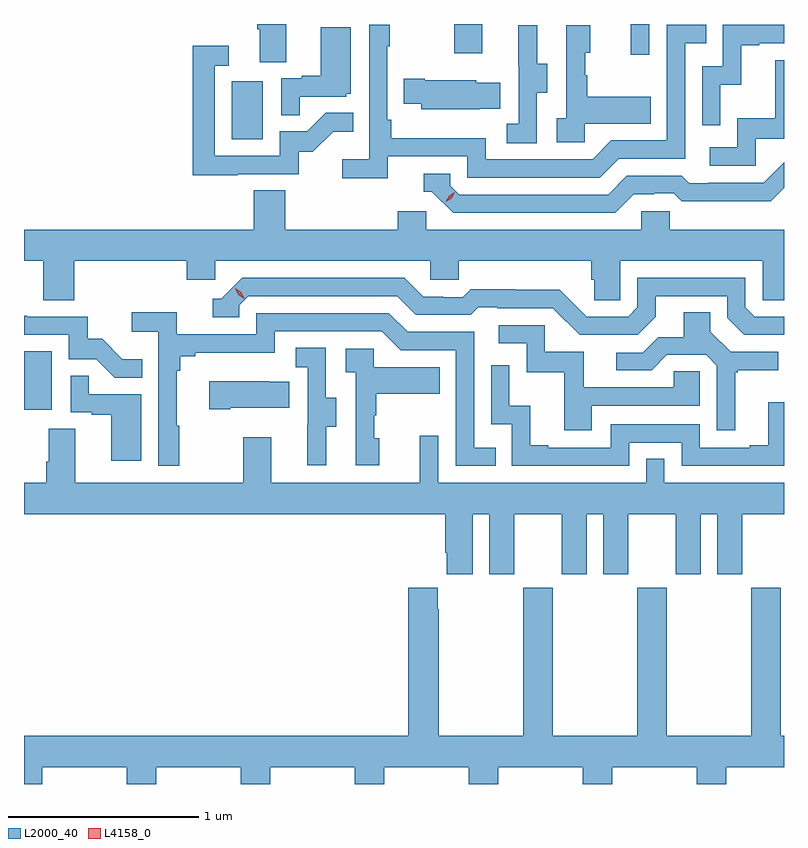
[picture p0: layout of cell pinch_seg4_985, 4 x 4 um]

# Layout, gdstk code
import gdstk
lib = gdstk.Library(unit=1e-6, precision=1e-09)
def R(c, l, rs):  # rectangles x0, y0, x1, y1
    for r in rs: c.add(gdstk.rectangle(r[:2], r[2:], *l))
def P(c, l, *ps):  # polygons
    for p in ps: c.add(gdstk.Polygon(p, *l))
L2000_40 = (2000, 40)
L4158_0 = (4158, 0)

pinch_seg4_985 = lib.new_cell('pinch_seg4_985')
R(pinch_seg4_985, L2000_40, [(853.315,780.054,853.462,780.361), (854.408,781.476,854.572,781.783), (856.508,781.92,856.605,782.083), (855.58,781.929,855.727,782.083)])
P(pinch_seg4_985, L2000_40, [(854.695,782.083),(854.543,782.083),(854.543,782.056),(854.555,782.056),(854.555,781.882),(854.695,781.882)],
  [(855.23,781.386),(855.648,781.386),(855.648,781.275),(856.345,781.275),(856.444,781.374),(856.794,781.374),(856.794,781.983),(856.907,781.983),(856.907,782.079),(856.698,782.079),(856.698,781.47),(856.407,781.47),(856.308,781.371),(855.744,781.371),(855.744,781.483),(855.248,781.483),(855.248,781.579),(855.228,781.579),(855.228,781.967),(855.241,781.967),(855.241,782.08),(855.132,782.08),(855.132,781.372),(854.991,781.372),(854.991,781.27),(855.23,781.27)],
  [(856.98,781.763),(857.09,781.763),(857.09,781.971),(857.185,781.971),(857.185,781.983),(857.315,781.983),(857.315,782.079),(856.992,782.079),(856.992,781.86),(856.884,781.86),(856.884,781.551),(856.98,781.551)],
  [(856.014,781.72),(856.069,781.72),(856.069,781.875),(856.015,781.875),(856.015,782.077),(855.917,782.077),(855.917,781.863),(855.918,781.863),(855.918,781.559),(855.855,781.559),(855.855,781.456),(856.014,781.456)],
  [(856.266,781.559),(856.613,781.559),(856.613,781.699),(856.279,781.699),(856.279,781.814),(856.269,781.814),(856.269,781.932),(856.294,781.932),(856.294,782.077),(856.17,782.077),(856.17,781.586),(856.119,781.586),(856.119,781.461),(856.266,781.461)],
  [(854.765,781.701),(855.012,781.701),(855.012,781.716),(855.034,781.716),(855.034,782.065),(854.876,782.065),(854.876,781.81),(854.777,781.81),(854.777,781.797),(854.67,781.797),(854.67,781.603),(854.765,781.603)],
  [(854.441,781.293),(854.76,781.293),(854.76,781.41),(854.836,781.41),(854.943,781.517),(855.047,781.517),(855.047,781.616),(854.903,781.616),(854.805,781.518),(854.661,781.518),(854.661,781.389),(854.319,781.389),(854.319,781.863),(854.392,781.863),(854.392,781.969),(854.203,781.969),(854.203,781.288),(854.441,781.288)],
  [(857.166,781.479),(857.315,781.479),(857.315,781.891),(857.269,781.891),(857.269,781.588),(857.07,781.588),(857.07,781.434),(856.923,781.434),(856.923,781.338),(857.166,781.338)],
  [(855.713,781.637),(855.821,781.637),(855.821,781.774),(855.696,781.774),(855.696,781.786),(855.424,781.786),(855.424,781.794),(855.313,781.794),(855.313,781.664),(855.407,781.664),(855.407,781.634),(855.713,781.634)],
  [(856.525,781.188),(856.632,781.188),(856.632,781.191),(856.735,781.191),(856.777,781.149),(857.01,781.149),(857.01,781.151),(857.246,781.151),(857.315,781.22),(857.315,781.355),(857.208,781.248),(856.915,781.248),(856.915,781.245),(856.816,781.245),(856.777,781.284),(856.488,781.284),(856.389,781.185),(855.606,781.185),(855.558,781.233),(855.558,781.296),(855.419,781.296),(855.419,781.2),(855.462,781.2),(855.573,781.089),(856.426,781.089)],
  [(856.563,781.098),(856.563,781),(855.432,781),(855.432,781.098),(855.281,781.098),(855.281,781),(854.69,781),(854.69,781.208),(854.525,781.208),(854.525,781),(853.315,781),(853.315,780.836),(853.415,780.836),(853.415,780.628),(853.58,780.628),(853.58,780.836),(854.171,780.836),(854.171,780.738),(854.322,780.738),(854.322,780.836),(855.453,780.836),(855.453,780.738),(855.603,780.738),(855.603,780.836),(856.301,780.836),(856.301,780.738),(856.315,780.738),(856.315,780.628),(856.452,780.628),(856.452,780.836),(857.202,780.836),(857.202,780.628),(857.315,780.628),(857.315,781),(856.713,781),(856.713,781.098)],
  [(856.639,780.541),(856.639,780.651),(857.016,780.651),(857.016,780.537),(857.106,780.447),(857.315,780.447),(857.315,780.543),(857.16,780.543),(857.112,780.591),(857.112,780.747),(856.542,780.747),(856.542,780.591),(856.494,780.543),(856.278,780.543),(856.136,780.685),(855.9,780.685),(855.9,780.688),(855.667,780.688),(855.625,780.645),(855.522,780.645),(855.522,780.648),(855.415,780.648),(855.316,780.747),(854.463,780.747),(854.352,780.636),(854.309,780.636),(854.309,780.54),(854.448,780.54),(854.448,780.603),(854.496,780.651),(855.279,780.651),(855.378,780.552),(855.667,780.552),(855.706,780.591),(855.805,780.591),(855.805,780.588),(856.098,780.588),(856.239,780.447),(856.545,780.447)],
  [(857.059,780.249),(857.071,780.249),(857.071,780.26),(857.284,780.26),(857.284,780.357),(857.034,780.357),(856.927,780.464),(856.927,780.566),(856.787,780.566),(856.787,780.434),(856.652,780.434),(856.572,780.354),(856.431,780.354),(856.431,780.261),(856.618,780.261),(856.699,780.342),(856.905,780.342),(856.962,780.285),(856.962,779.946),(857.059,779.946)],
  [(854.131,779.969),(854.119,779.969),(854.119,780.257),(854.138,780.257),(854.138,780.334),(854.215,780.334),(854.215,780.353),(854.634,780.353),(854.634,780.465),(855.198,780.465),(855.297,780.366),(855.588,780.366),(855.588,779.757),(855.797,779.757),(855.797,779.853),(855.684,779.853),(855.684,780.462),(855.334,780.462),(855.235,780.561),(854.538,780.561),(854.538,780.45),(854.12,780.45),(854.12,780.566),(853.881,780.566),(853.881,780.464),(854.022,780.464),(854.022,779.757),(854.131,779.757)],
  [(853.937,780.319),(853.833,780.319),(853.726,780.426),(853.65,780.426),(853.65,780.543),(853.331,780.543),(853.331,780.548),(853.315,780.548),(853.315,780.447),(853.551,780.447),(853.551,780.318),(853.695,780.318),(853.793,780.22),(853.937,780.22)],
  [(856.303,780.075),(856.872,780.075),(856.872,780.255),(856.735,780.255),(856.735,780.171),(856.261,780.171),(856.261,780.357),(856.056,780.357),(856.056,780.498),(855.813,780.498),(855.813,780.402),(855.96,780.402),(855.96,780.249),(856.159,780.249),(856.159,779.946),(856.303,779.946)],
  [(854.905,779.962),(854.959,779.962),(854.959,780.117),(854.904,780.117),(854.904,780.38),(854.745,780.38),(854.745,780.277),(854.808,780.277),(854.808,779.973),(854.807,779.973),(854.807,779.76),(854.905,779.76)],
  [(855.184,779.904),(855.159,779.904),(855.159,780.023),(855.169,780.023),(855.169,780.137),(855.503,780.137),(855.503,780.277),(855.156,780.277),(855.156,780.375),(855.009,780.375),(855.009,780.251),(855.06,780.251),(855.06,779.76),(855.184,779.76)],
  [(856.5,779.88),(856.776,779.88),(856.776,779.757),(857.315,779.757),(857.315,780.091),(857.231,780.091),(857.231,779.866),(857.135,779.866),(857.135,779.853),(856.872,779.853),(856.872,779.976),(856.404,779.976),(856.404,779.853),(856.075,779.853),(856.075,779.866),(855.98,779.866),(855.98,780.074),(855.87,780.074),(855.87,780.286),(855.774,780.286),(855.774,779.976),(855.882,779.976),(855.882,779.757),(856.5,779.757)],
  [(853.933,780.135),(853.655,780.135),(853.655,780.233),(853.56,780.233),(853.56,780.039),(853.671,780.039),(853.671,780.027),(853.775,780.027),(853.775,779.784),(853.933,779.784)],
  [(854.401,780.062),(854.711,780.062),(854.711,780.199),(854.603,780.199),(854.603,780.202),(854.289,780.202),(854.289,780.055),(854.401,780.055)],
  [(855.495,779.917),(855.398,779.917),(855.398,779.668),(854.617,779.668),(854.617,779.908),(854.47,779.908),(854.47,779.668),(853.585,779.668),(853.585,779.954),(853.445,779.954),(853.445,779.78),(853.433,779.78),(853.433,779.668),(853.315,779.668),(853.315,779.504),(855.533,779.504),(855.533,779.299),(855.539,779.299),(855.539,779.187),(855.676,779.187),(855.676,779.504),(855.764,779.504),(855.764,779.187),(855.895,779.187),(855.895,779.504),(856.145,779.504),(856.145,779.187),(856.276,779.187),(856.276,779.504),(856.364,779.504),(856.364,779.187),(856.495,779.187),(856.495,779.504),(856.745,779.504),(856.745,779.187),(856.876,779.187),(856.876,779.504),(856.964,779.504),(856.964,779.187),(857.095,779.187),(857.095,779.504),(857.315,779.504),(857.315,779.668),(856.686,779.668),(856.686,779.795),(856.59,779.795),(856.59,779.668),(855.495,779.668)],
  [(855.498,779.003),(855.493,779.003),(855.493,779.116),(855.338,779.116),(855.338,778.336),(853.315,778.336),(853.315,778.083),(853.41,778.083),(853.41,778.172),(853.855,778.172),(853.855,778.083),(854.01,778.083),(854.01,778.172),(854.455,778.172),(854.455,778.083),(854.61,778.083),(854.61,778.172),(855.055,778.172),(855.055,778.083),(855.21,778.083),(855.21,778.172),(855.655,778.172),(855.655,778.083),(855.81,778.083),(855.81,778.172),(856.255,778.172),(856.255,778.083),(856.41,778.083),(856.41,778.172),(856.855,778.172),(856.855,778.083),(857.01,778.083),(857.01,778.172),(857.315,778.172),(857.315,778.336),(857.298,778.336),(857.298,779.116),(857.143,779.116),(857.143,778.336),(856.698,778.336),(856.698,779.116),(856.543,779.116),(856.543,778.336),(856.098,778.336),(856.098,779.116),(855.943,779.116),(855.943,778.336),(855.498,778.336)])
P(pinch_seg4_985, L4158_0, [(855.535,781.147),(855.535,781.147),(855.552,781.179),(855.583,781.198),(855.583,781.198),(855.583,781.198),(855.566,781.166),(855.536,781.147)],
  [(854.473,780.638),(854.443,780.658),(854.427,780.691),(854.427,780.691),(854.427,780.691),(854.458,780.671),(854.474,780.638),(854.474,780.638)])

lib.write_gds('pinch_seg4_985.gds')
